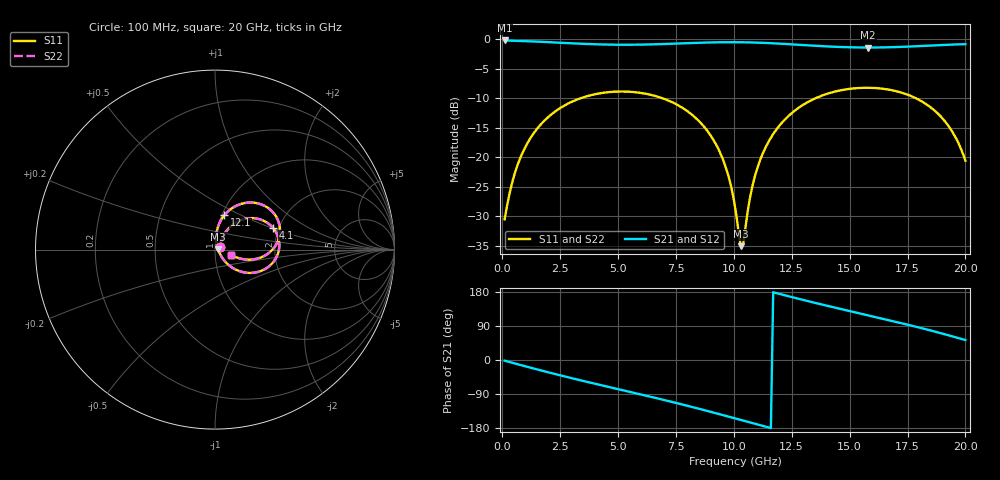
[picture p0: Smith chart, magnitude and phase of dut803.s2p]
! Touchstone file exported from HFSS 2026.1.0
!  File:  C:/ffzhzh/LocalFiles/Ansys_Project_Files/temp_train_TSV_RDL_803_1783263014_39728.aedt
!  Generated:  11:00:43 PM Jul  5, 2026
!  Design:  TSV_RDL
!  Project:  temp_train_TSV_RDL_803_1783263014_39728
! Variables:
!  h_bsmrdl = 4.95um
!  h_ox = 20um
!  h_rdl = 5um
!  h_sub = 67.19um
!  h_tmrdl = 3.93um
!  h_tsv = 67.19um
!  h_via = 3um
!  l_bsmrdl = 710.92um
!  l_sub = 4955.02um
!  l_tmrdl = 577.32um
!  m_sub = 200um
!  pitch = 36.12um
!  r_tsv = 10.92um
!  s_tmrdl = 10um
!  w_bsmrdl = 27.29um
!  w_sub = 500um
!  w_tmrdl = 10.37um
!  x_tsv_center1 = 582.505um
!  x_tsv_center2 = 1320.715um
!  x_tsv_center3 = 1908.405um
!  x_tsv_center4 = 2646.615um
!  x_tsv_center5 = 3234.305um
!  x_tsv_center6 = 3972.515um
# GHz S MA R 50.000000
! Terminal data exported
! Port[1] = TM_RDL1_1_T1
! Port[2] = TM_RDL5_1_T1
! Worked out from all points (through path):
!   200 points, 100 MHz to 20 GHz, reference 50 ohm
!   highest |S21| = -0.23 dB at 100 MHz (marker M1); lowest = -1.4 dB at 15.8 GHz (marker M2)
!   group delay of S21, straight-line fit = 42.4 ps
!   lowest |S11| = -35.0 dB at 10.3 GHz (marker M3), VSWR 1.04, Z = 51.8 + j0.0661 ohm
!   |S11| at or under -10 dB: start of sweep to 3.389 GHz; 6.911 GHz to 13.53 GHz (6.622 GHz wide, 64.8 % of centre); 17.86 GHz to end of sweep
!   |S22| runs from -35.1 to -8.2 dB; largest |S21 - S12| = 1.7e-14
!   S11 on the Smith chart (normalised r, x): 100 MHz: 1.06, +0.03; 4.1 GHz: 1.86, +0.52; 12.1 GHz: 1.03, +0.41; 20 GHz: 1.19, -0.07
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0.1  0.02989 25.6  0.9734 -1.8  0.9734 -1.8  0.02989 25.6
! Gamma 0 0 0 0
! Port Impedance 50 0 50 0
0.6  0.07956 57.4  0.9669 -10.2  0.9669 -10.2  0.07956 57.4
1.2  0.1436 57.1  0.9578 -20.0  0.9578 -20.0  0.1436 57.1
2.2  0.2374 46.1  0.9375 -35.8  0.9375 -35.8  0.2374 46.1
3.5  0.3216 28.9  0.9112 -55.4  0.9112 -55.4  0.3216 28.9
4.1  0.3445 20.8  0.9025 -64.1  0.9025 -64.1  0.3445 20.8
6.8  0.3216 -15.4  0.9056 -102.7  0.9056 -102.7  0.3216 -15.5
8.1  0.2369 -33.3  0.9247 -122.5  0.9247 -122.5  0.2369 -33.3
9  0.1527 -44.8  0.9364 -136.8  0.9364 -136.8  0.1527 -44.9
9.7  0.07695 -49.5  0.9409 -148.3  0.9409 -148.3  0.07689 -49.7
10.1  0.03322 -37.9  0.9409 -154.9  0.9409 -154.9  0.03309 -38.2
10.3  0.01771 2.1  0.9401 -158.2  0.9401 -158.2  0.0175 1.9
10.4  0.01839 38.7  0.9396 -159.9  0.9396 -159.9  0.0182 39.0
10.7  0.04577 79.9  0.937 -164.9  0.937 -164.9  0.04571 80.1
11  0.0795 84.6  0.9333 -169.8  0.9333 -169.8  0.07948 84.7
12.1  0.1984 74.9  0.9119 172.4  0.9119 172.4  0.1984 74.9
13.4  0.3076 57.5  0.8801 152.3  0.8801 152.3  0.3076 57.5
15.8  0.3873 26.0  0.848 117.9  0.848 117.9  0.3873 26.0
16.7  0.3732 14.3  0.8522 105.1  0.8522 105.1  0.3733 14.3
18.8  0.2355 -12.6  0.8881 73.0  0.8881 73.0  0.2356 -12.6
19.5  0.1566 -19.2  0.8999 61.3  0.8999 61.3  0.1567 -19.3
20  0.09372 -18.0  0.9049 52.6  0.9049 52.6  0.09379 -18.1
